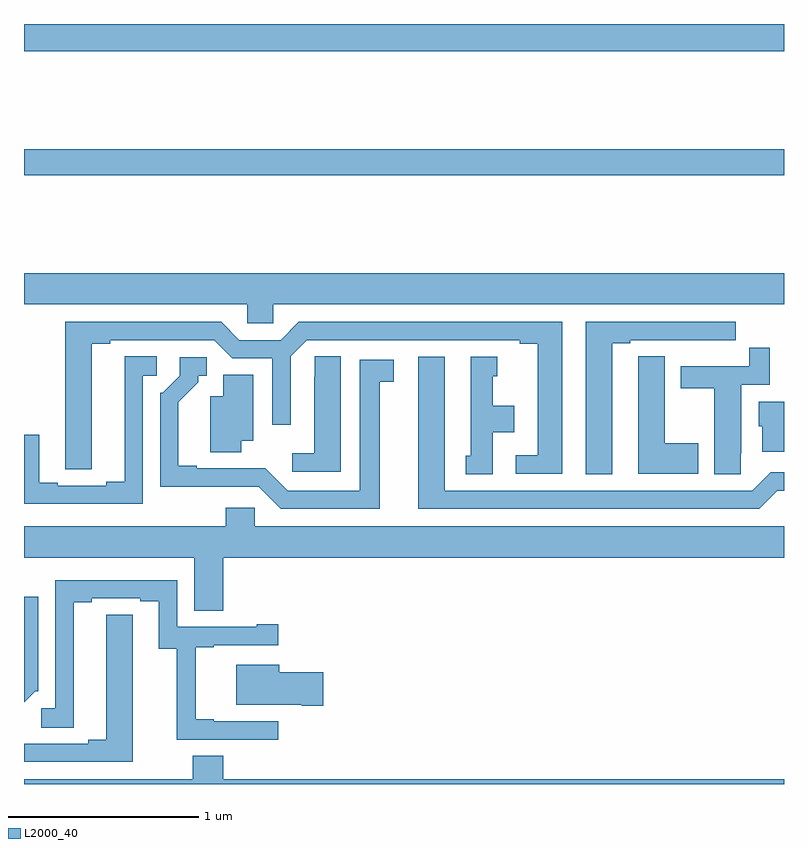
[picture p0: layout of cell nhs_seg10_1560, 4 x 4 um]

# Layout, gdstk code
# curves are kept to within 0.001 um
import gdstk
lib = gdstk.Library(unit=1e-6, precision=1e-09)
def R(c, l, rs):  # rectangles x0, y0, x1, y1
    for r in rs: c.add(gdstk.rectangle(r[:2], r[2:], *l))
def P(c, l, *ps):  # polygons
    for p in ps: c.add(gdstk.Polygon(p, *l))
L2000_40 = (2000, 40)

nhs_seg10_1560 = lib.new_cell('nhs_seg10_1560')
R(nhs_seg10_1560, L2000_40, [(193,1259.704,197,1259.84), (193,1260.356,197,1260.5)])
P(nhs_seg10_1560, L2000_40, [(194.313,1259.024),(197,1259.024),(197,1259.188),(193,1259.188),(193,1259.024),(194.175,1259.024),(194.175,1258.926),(194.313,1258.926)],
  [(195.832,1258.932),(194.447,1258.932),(194.351,1258.836),(194.133,1258.836),(194.037,1258.932),(193.217,1258.932),(193.218,1258.156),(193.357,1258.156),(193.357,1258.816),(193.453,1258.816),(193.453,1258.836),(194.001,1258.836),(194.097,1258.74),(194.307,1258.74),(194.307,1258.392),(194.403,1258.392),(194.403,1258.752),(194.487,1258.836),(195.608,1258.836),(195.608,1258.816),(195.704,1258.816),(195.704,1258.23),(195.588,1258.23),(195.588,1258.134),(195.832,1258.134)],
  [(196.096,1258.821),(196.192,1258.821),(196.192,1258.836),(196.468,1258.836),(196.468,1258.835),(196.634,1258.835),(196.634,1258.836),(196.747,1258.836),(196.747,1258.932),(195.956,1258.932),(195.956,1258.129),(196.096,1258.129)],
  [(196.773,1258.24),(196.774,1258.24),(196.774,1258.602),(196.925,1258.602),(196.925,1258.795),(196.816,1258.795),(196.816,1258.698),(196.457,1258.698),(196.457,1258.582),(196.634,1258.582),(196.634,1258.129),(196.773,1258.129)],
  [(194.668,1258.751),(194.529,1258.751),(194.529,1258.643),(194.528,1258.643),(194.528,1258.24),(194.412,1258.24),(194.412,1258.143),(194.668,1258.143)],
  [(196.549,1258.293),(196.372,1258.293),(196.372,1258.751),(196.233,1258.751),(196.233,1258.643),(196.232,1258.643),(196.232,1258.133),(196.549,1258.133)],
  [(193.626,1258.65),(193.699,1258.65),(193.699,1258.751),(193.529,1258.751),(193.529,1258.091),(193.433,1258.091),(193.433,1258.071),(193.177,1258.071),(193.177,1258.086),(193.081,1258.086),(193.081,1258.337),(193,1258.337),(193,1257.975),(193.626,1257.975)],
  [(195.466,1258.352),(195.58,1258.352),(195.58,1258.492),(195.466,1258.492),(195.466,1258.647),(195.49,1258.647),(195.49,1258.75),(195.35,1258.75),(195.35,1258.227),(195.326,1258.227),(195.326,1258.129),(195.466,1258.129)],
  [(196.965,1258.044),(197,1258.044),(197,1258.14),(196.929,1258.14),(196.833,1258.044),(195.214,1258.044),(195.214,1258.75),(195.074,1258.75),(195.074,1257.948),(196.869,1257.948)],
  [(194.872,1258.618),(194.947,1258.618),(194.947,1258.734),(194.768,1258.734),(194.768,1258.044),(194.388,1258.044),(194.27,1258.162),(193.909,1258.161),(193.909,1258.174),(193.813,1258.174),(193.813,1258.51),(193.918,1258.615),(193.918,1258.65),(193.963,1258.65),(193.963,1258.746),(193.821,1258.746),(193.821,1258.65),(193.731,1258.56),(193.716,1258.56),(193.716,1258.064),(194.235,1258.065),(194.352,1257.948),(194.872,1257.948)],
  [(194.143,1258.307),(194.206,1258.307),(194.206,1258.655),(194.048,1258.655),(194.048,1258.54),(193.979,1258.54),(193.979,1258.246),(194.143,1258.246)],
  [(197,1258.513),(196.868,1258.513),(196.868,1258.383),(196.886,1258.383),(196.886,1258.25),(197,1258.25)],
  [(194.048,1257.692),(197,1257.692),(197,1257.856),(194.214,1257.856),(194.214,1257.954),(194.063,1257.954),(194.063,1257.856),(193,1257.856),(193,1257.692),(193.895,1257.692),(193.895,1257.412),(194.048,1257.412)],
  [(194.338,1256.829),(193.999,1256.829),(193.999,1256.842),(193.904,1256.842),(193.904,1257.219),(193.999,1257.219),(193.999,1257.231),(194.338,1257.231),(194.338,1257.34),(194.225,1257.34),(194.225,1257.327),(193.806,1257.327),(193.806,1257.573),(193.164,1257.573),(193.164,1256.898),(193.092,1256.898),(193.092,1256.797),(193.261,1256.797),(193.261,1257.457),(193.357,1257.457),(193.357,1257.477),(193.613,1257.477),(193.613,1257.462),(193.709,1257.462),(193.709,1257.211),(193.804,1257.211),(193.804,1256.733),(194.338,1256.733)],
  [(193.059,1256.988),(193.074,1256.988),(193.074,1257.485),(193,1257.485),(193,1256.929)],
  [(193.573,1257.284),(193.572,1257.284),(193.572,1257.392),(193.433,1257.392),(193.433,1256.732),(193.337,1256.732),(193.337,1256.712),(193,1256.712),(193,1256.616),(193.573,1256.616)],
  [(194.575,1257.089),(194.344,1257.089),(194.344,1257.127),(194.117,1257.127),(194.117,1256.918),(194.462,1256.918),(194.462,1256.911),(194.575,1256.911)],
  [(197,1256.524),(194.048,1256.524),(194.048,1256.648),(193.888,1256.648),(193.888,1256.524),(193,1256.524),(193,1256.5),(197,1256.5)])

lib.write_gds('nhs_seg10_1560.gds')
